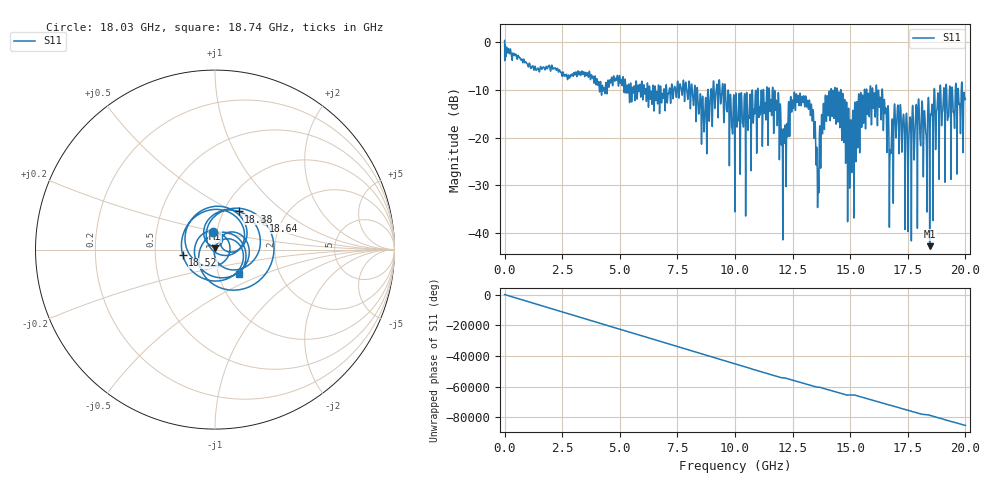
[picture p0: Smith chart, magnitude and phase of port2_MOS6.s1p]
! MS46122B
! 2250307/22442219
! 7/23/2025 1:08:13 PM
! C:\USERS\SPARKY\DOCUMENTS\VNA_DATA\JULY23_2025\295K\PORT2_MOS6.S1P
! CHANNEL.1
! TR.MEASUREMENT
! RAW.DATA
# GHZ S RI R 50.0
! FREQ.GHZ  S11RE  S11IM
!; PortSelection: Port_1
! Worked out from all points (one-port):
!   10001 points, 1 MHz to 20 GHz, reference 50 ohm
!   lowest |S11| = -42.7 dB at 18.45 GHz (marker M1), VSWR 1.01, Z = 49.9 + j0.725 ohm
!   |S11| at or under -10 dB: 9.709 GHz to 10.74 GHz (1.034 GHz wide, 10.1 % of centre); 11.65 GHz to 14.17 GHz (2.52 GHz wide, 19.5 % of centre); 16.4 GHz to 18.64 GHz (2.244 GHz wide, 12.8 % of centre) (the widest 3 of 71)
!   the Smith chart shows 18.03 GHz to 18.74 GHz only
!   S11 on the Smith chart (normalised r, x): 18.03 GHz: 0.96, +0.19; 18.38 GHz: 1.17, +0.53; 18.52 GHz: 0.69, -0.04; 18.64 GHz: 1.61, +0.58; 18.74 GHz: 1.25, -0.36
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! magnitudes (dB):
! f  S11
! 1 MHz  0.4
! 2.501 GHz  -7.1
! 5.001 GHz  -7.2
! 7.501 GHz  -8.4
! 8.705 GHz  -13.0
! 9.391 GHz  -12.5
! 10 GHz  -21.4
! 11.8 GHz  -12.2
! 12.14 GHz  -21.2
! 12.5 GHz  -12.1
! 13.31 GHz  -13.0
! 13.58 GHz  -32.9
! 13.84 GHz  -12.8
! 14.09 GHz  -10.3
! 14.51 GHz  -10.4
! 15 GHz  -18.4
! 16.05 GHz  -10.7
! 16.47 GHz  -12.7
! 16.78 GHz  -21.7
! 17 GHz  -19.2
! 17.5 GHz  -29.6
! 18.03 GHz  -20.2
! 18.38 GHz  -12.0
! 18.45 GHz  -42.7
! 18.52 GHz  -14.8
! 18.64 GHz  -10.0
! 18.74 GHz  -14.4
! 20 GHz  -11.9
